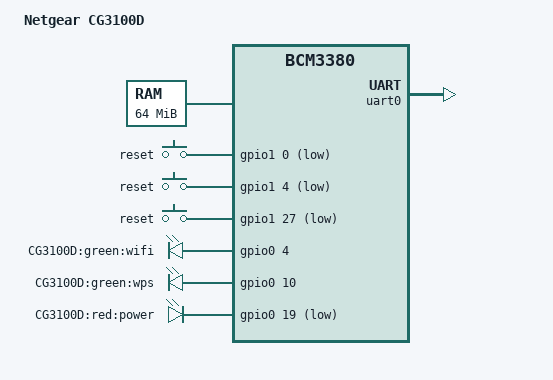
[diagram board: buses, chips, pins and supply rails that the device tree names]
/dts-v1/;

#include "bcm3380.dtsi"

#include <dt-bindings/input/input.h>

/ {
	model = "Netgear CG3100D";
	compatible = "netgear,cg3100d", "brcm,bcm3380";

	memory@0 {
		device_type = "memory";
		reg = <0x00000000 0x04000000>;
	};

	chosen {
		bootargs = "console=ttyS0,115200";
		stdout-path = &uart0;
	};

	gpio-keys-polled {
		compatible = "gpio-keys-polled";
		#address-cells = <1>;
		#size-cells = <0>;
		poll-interval = <20>;
		debounce-interval = <60>;

		wifi {
			label = "reset";
			gpios = <&gpio1 0 1>;
			linux,code = <KEY_WLAN>;
		};
		reset {
			label = "reset";
			gpios = <&gpio1 4 1>;
			linux,code = <KEY_RESTART>;
		};
		wps {
			label = "reset";
			gpios = <&gpio1 27 1>;
			linux,code = <KEY_WPS_BUTTON>;
		};
	};

	gpio-leds {
		compatible = "gpio-leds";

		wifi_green {
			label = "CG3100D:green:wifi";
			gpios = <&gpio0 4 0>;
		};
		wps_green {
			label = "CG3100D:green:wps";
			gpios = <&gpio0 10 0>;
		};
		/*
		switch {
			label = "CG3100D:switch";
			gpios = <&gpio0 16 0>;
			default-state = "on";
		};
		*/
		power_red {
			label = "CG3100D:red:power";
			gpios = <&gpio0 19 1>;
		};
	};
};

&uart0 {
	status = "ok";
};
